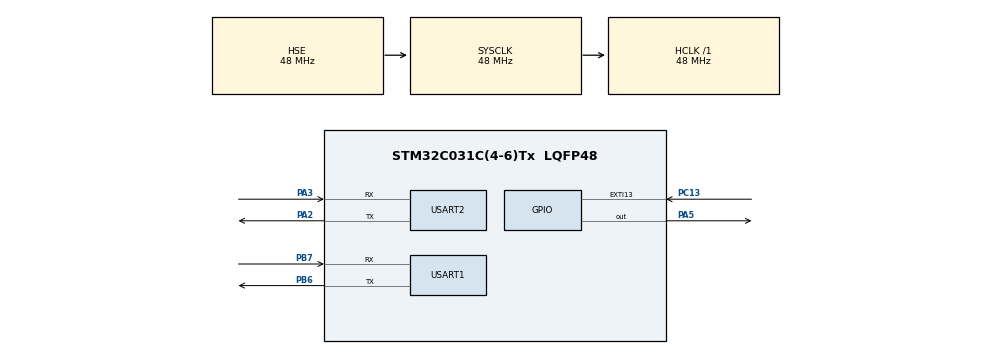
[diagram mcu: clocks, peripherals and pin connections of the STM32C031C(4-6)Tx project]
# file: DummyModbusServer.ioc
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Mcu.Family=STM32C0
Mcu.Name=STM32C031C(4-6)Tx
Mcu.Package=LQFP48
NUCLEO-C031C6.BUTTON=1
NUCLEO-C031C6.LD4=true
NVIC.EXTI4_15_IRQn=true\:0\:0\:false\:false\:true\:true\:true\:true
PA13.GPIO_Label=DEBUG_SWDIO
PA13.Mode=Serial_Wire
PA13.Signal=DEBUG_SWDIO
PA14-BOOT0.GPIO_Label=DEBUG_SWCLK
PA14-BOOT0.Mode=Serial_Wire
PA14-BOOT0.Signal=DEBUG_SWCLK
PA2.Mode=Asynchronous
PA2.Signal=USART2_TX
PA3.Mode=Asynchronous
PA3.Signal=USART2_RX
PA5.Signal=GPIO_Output
PB6.Mode=Asynchronous
PB6.Signal=USART1_TX
PB7.Mode=Asynchronous
PB7.Signal=USART1_RX
PC13.Signal=GPXTI13
PC14-OSCX_IN\ (PC14).GPIO_Label=RCC_OSCX_IN
PC14-OSCX_IN\ (PC14).Mode=LSE-External-Oscillator
PC14-OSCX_IN\ (PC14).Signal=RCC_OSCX_IN
PC15-OSCX_OUT\ (PC15).GPIO_Label=RCC_OSCX_OUT
PC15-OSCX_OUT\ (PC15).Mode=LSE-External-Oscillator
PC15-OSCX_OUT\ (PC15).Signal=RCC_OSCX_OUT
PF0-OSC_IN\ (PF0).GPIO_Label=RCC_OSC_IN
PF0-OSC_IN\ (PF0).Mode=HSE-External-Oscillator
PF0-OSC_IN\ (PF0).Signal=RCC_OSC_IN
PF1-OSC_OUT\ (PF1).GPIO_Label=RCC_OSC_OUT
PF1-OSC_OUT\ (PF1).Mode=HSE-External-Oscillator
PF1-OSC_OUT\ (PF1).Signal=RCC_OSC_OUT
ProjectManager.HeapSize=0x200
ProjectManager.StackSize=0x400
ProjectManager.TargetToolchain=STM32CubeIDE
RCC.ADCFreq_Value=48000000
RCC.AHBFreq_Value=48000000
RCC.CortexFreq_Value=48000000
RCC.EXTERNAL_CLOCK_VALUE=12288000
RCC.HCLKFreq_Value=48000000
RCC.HSE_VALUE=48000000
RCC.HSISYSCLKDivider=RCC_HSI_DIV1
RCC.HSI_VALUE=48000000
RCC.SYSCLKFreq_VALUE=48000000
RCC.SYSCLKSource=RCC_SYSCLKSOURCE_HSE
USART1.FIFOMode=FIFOMODE_ENABLE
USART1.VirtualMode-Asynchronous=VM_ASYNC
USART2.VirtualMode-Asynchronous=VM_ASYNC
VP_NUCLEO-C031C6_VS_BSP_COMMON.Mode=COMMON
board=NUCLEO-C031C6

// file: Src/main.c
/* USER CODE BEGIN Header */
/**
 ******************************************************************************
 * @file           : main.c
 * @brief          : Main program body
 ******************************************************************************
 * @attention
 *
 * Copyright (c) 2025 STMicroelectronics.
 * All rights reserved.
 *
 * This software is licensed under terms that can be found in the LICENSE file
 * in the root directory of this software component.
 * If no LICENSE file comes with this software, it is provided AS-IS.
 *
 ******************************************************************************
 */
/* USER CODE END Header */
#include "main.h"

/* USER CODE BEGIN Includes */
#include "port.h"
/* USER CODE END Includes */

UART_HandleTypeDef huart1;
UART_HandleTypeDef huart2;

/* USER CODE BEGIN PV */
nmbs_t nmbs;
nmbs_server_t nmbs_server = {
    .id = 0x01,
    .regs = {
        0xDEAD,
        0xBEEF,
        0xABAD,
        0xBABE,
    },
};
/* USER CODE END PV */

void SystemClock_Config(void);
static void MX_GPIO_Init(void);
static void MX_USART1_UART_Init(void);
static void MX_USART2_UART_Init(void);
/* USER CODE BEGIN PFP */
#ifdef __GNUC__
#define PUTCHAR_PROTOTYPE int __io_putchar(int ch)
#else
#define PUTCHAR_PROTOTYPE int fputc(int ch, FILE* f)
#endif

PUTCHAR_PROTOTYPE
{
    HAL_UART_Transmit(&huart2, (uint8_t*)&ch, 1, HAL_MAX_DELAY);
    return ch;
}
/* USER CODE END PFP */

int main(void)
{

    /* MCU Configuration--------------------------------------------------------*/

    /* Reset of all peripherals, Initializes the Flash interface and the Systick. */
    HAL_Init();

    /* Configure the system clock */
    SystemClock_Config();

    /* Initialize all configured peripherals */
    MX_GPIO_Init();
    MX_USART1_UART_Init();
    MX_USART2_UART_Init();
    /* USER CODE BEGIN 2 */

    if (nmbs_server_init(&nmbs, &nmbs_server) != NMBS_ERROR_NONE)
    {
        __BKPT();
        while (1);
    }

    /* USER CODE END 2 */

    /* Initialize leds */
    BSP_LED_Init(LED_GREEN);

    /* Initialize USER push-button, will be used to trigger an interrupt each time it's pressed.*/
    BSP_PB_Init(BUTTON_USER, BUTTON_MODE_EXTI);

    /* Infinite loop */
    /* USER CODE BEGIN WHILE */
    while (1)
    {
        nmbs_server_poll(&nmbs);
        BSP_LED_Toggle(LED_GREEN);
        /* USER CODE END WHILE */

    }
}

void SystemClock_Config(void)
{
    RCC_OscInitTypeDef RCC_OscInitStruct = {0};
    RCC_ClkInitTypeDef RCC_ClkInitStruct = {0};

    __HAL_FLASH_SET_LATENCY(FLASH_LATENCY_1);

    /** Initializes the RCC Oscillators according to the specified parameters
     * in the RCC_OscInitTypeDef structure.
     */
    RCC_OscInitStruct.OscillatorType = RCC_OSCILLATORTYPE_HSE;
    RCC_OscInitStruct.HSEState = RCC_HSE_ON;
    if (HAL_RCC_OscConfig(&RCC_OscInitStruct) != HAL_OK)
    {
        Error_Handler();
    }

    /** Initializes the CPU, AHB and APB buses clocks
     */
    RCC_ClkInitStruct.ClockType = RCC_CLOCKTYPE_HCLK | RCC_CLOCKTYPE_SYSCLK | RCC_CLOCKTYPE_PCLK1;
    RCC_ClkInitStruct.SYSCLKSource = RCC_SYSCLKSOURCE_HSE;
    RCC_ClkInitStruct.SYSCLKDivider = RCC_SYSCLK_DIV1;
    RCC_ClkInitStruct.AHBCLKDivider = RCC_HCLK_DIV1;
    RCC_ClkInitStruct.APB1CLKDivider = RCC_APB1_DIV1;

    if (HAL_RCC_ClockConfig(&RCC_ClkInitStruct, FLASH_LATENCY_1) != HAL_OK)
    {
        Error_Handler();
    }
}

static void MX_USART1_UART_Init(void)
{

    huart1.Instance = USART1;
    huart1.Init.BaudRate = 115200;
    huart1.Init.WordLength = UART_WORDLENGTH_8B;
    huart1.Init.StopBits = UART_STOPBITS_1;
    huart1.Init.Parity = UART_PARITY_NONE;
    huart1.Init.Mode = UART_MODE_TX_RX;
    huart1.Init.HwFlowCtl = UART_HWCONTROL_NONE;
    huart1.Init.OverSampling = UART_OVERSAMPLING_16;
    huart1.Init.OneBitSampling = UART_ONE_BIT_SAMPLE_DISABLE;
    huart1.Init.ClockPrescaler = UART_PRESCALER_DIV1;
    huart1.AdvancedInit.AdvFeatureInit = UART_ADVFEATURE_NO_INIT;
    if (HAL_UART_Init(&huart1) != HAL_OK)
    {
        Error_Handler();
    }
    if (HAL_UARTEx_SetTxFifoThreshold(&huart1, UART_TXFIFO_THRESHOLD_1_8) != HAL_OK)
    {
        Error_Handler();
    }
    if (HAL_UARTEx_SetRxFifoThreshold(&huart1, UART_RXFIFO_THRESHOLD_1_8) != HAL_OK)
    {
        Error_Handler();
    }
    if (HAL_UARTEx_EnableFifoMode(&huart1) != HAL_OK)
    {
        Error_Handler();
    }
}

static void MX_USART2_UART_Init(void)
{

    huart2.Instance = USART2;
    huart2.Init.BaudRate = 115200;
    huart2.Init.WordLength = UART_WORDLENGTH_8B;
    huart2.Init.StopBits = UART_STOPBITS_1;
    huart2.Init.Parity = UART_PARITY_NONE;
    huart2.Init.Mode = UART_MODE_TX_RX;
    huart2.Init.HwFlowCtl = UART_HWCONTROL_NONE;
    huart2.Init.OverSampling = UART_OVERSAMPLING_16;
    huart2.Init.OneBitSampling = UART_ONE_BIT_SAMPLE_DISABLE;
    huart2.Init.ClockPrescaler = UART_PRESCALER_DIV1;
    huart2.AdvancedInit.AdvFeatureInit = UART_ADVFEATURE_NO_INIT;
    if (HAL_UART_Init(&huart2) != HAL_OK)
    {
        Error_Handler();
    }
}

static void MX_GPIO_Init(void)
{

    /* GPIO Ports Clock Enable */
    __HAL_RCC_GPIOC_CLK_ENABLE();
    __HAL_RCC_GPIOF_CLK_ENABLE();
    __HAL_RCC_GPIOA_CLK_ENABLE();
    __HAL_RCC_GPIOB_CLK_ENABLE();

}

void Error_Handler(void)
{
    __disable_irq();
    while (1)
    {
    }
}
